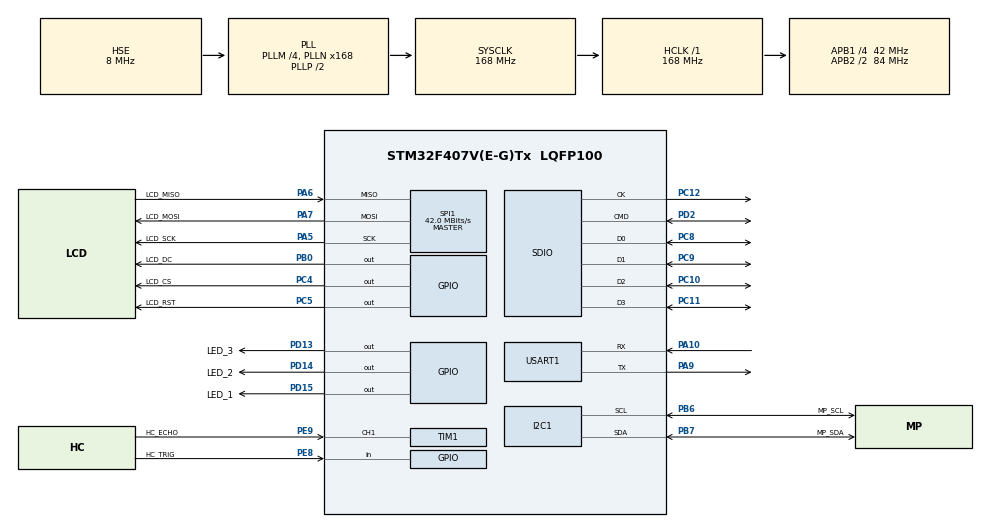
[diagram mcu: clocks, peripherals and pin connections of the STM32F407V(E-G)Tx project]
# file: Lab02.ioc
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Dma.Request0=SDIO_RX
Dma.Request1=SDIO_TX
Dma.SDIO_RX.0.Direction=DMA_PERIPH_TO_MEMORY
Dma.SDIO_RX.0.FIFOMode=DMA_FIFOMODE_ENABLE
Dma.SDIO_RX.0.FIFOThreshold=DMA_FIFO_THRESHOLD_FULL
Dma.SDIO_RX.0.Instance=DMA2_Stream3
Dma.SDIO_RX.0.MemBurst=DMA_MBURST_INC4
Dma.SDIO_RX.0.MemDataAlignment=DMA_MDATAALIGN_WORD
Dma.SDIO_RX.0.MemInc=DMA_MINC_ENABLE
Dma.SDIO_RX.0.Mode=DMA_PFCTRL
Dma.SDIO_RX.0.PeriphBurst=DMA_PBURST_INC4
Dma.SDIO_RX.0.PeriphDataAlignment=DMA_PDATAALIGN_WORD
Dma.SDIO_RX.0.PeriphInc=DMA_PINC_DISABLE
Dma.SDIO_RX.0.Priority=DMA_PRIORITY_LOW
Dma.SDIO_TX.1.Direction=DMA_MEMORY_TO_PERIPH
Dma.SDIO_TX.1.FIFOMode=DMA_FIFOMODE_ENABLE
Dma.SDIO_TX.1.FIFOThreshold=DMA_FIFO_THRESHOLD_FULL
Dma.SDIO_TX.1.Instance=DMA2_Stream6
Dma.SDIO_TX.1.MemBurst=DMA_MBURST_INC4
Dma.SDIO_TX.1.MemDataAlignment=DMA_MDATAALIGN_WORD
Dma.SDIO_TX.1.MemInc=DMA_MINC_ENABLE
Dma.SDIO_TX.1.Mode=DMA_PFCTRL
Dma.SDIO_TX.1.PeriphBurst=DMA_PBURST_INC4
Dma.SDIO_TX.1.PeriphDataAlignment=DMA_PDATAALIGN_WORD
Dma.SDIO_TX.1.PeriphInc=DMA_PINC_DISABLE
Dma.SDIO_TX.1.Priority=DMA_PRIORITY_LOW
FATFS._MAX_SS=512
FATFS._USE_LFN=3
FREERTOS.Tasks01=defaultTask,0,128,StartDefaultTask,Default,NULL,Dynamic,NULL,NULL
Mcu.Family=STM32F4
Mcu.Name=STM32F407V(E-G)Tx
Mcu.Package=LQFP100
NVIC.DMA2_Stream3_IRQn=true\:5\:0\:false\:false\:true\:true\:false\:true\:true
NVIC.DMA2_Stream6_IRQn=true\:5\:0\:false\:false\:true\:true\:false\:true\:true
NVIC.PriorityGroup=NVIC_PRIORITYGROUP_4
NVIC.TIM1_CC_IRQn=true\:5\:0\:false\:false\:true\:true\:true\:true\:true
PA10.Mode=Asynchronous
PA10.Signal=USART1_RX
PA5.GPIO_Label=LCD_SCK
PA5.Mode=Full_Duplex_Master
PA5.Signal=SPI1_SCK
PA6.GPIO_Label=LCD_MISO
PA6.Mode=Full_Duplex_Master
PA6.Signal=SPI1_MISO
PA7.GPIO_Label=LCD_MOSI
PA7.Mode=Full_Duplex_Master
PA7.Signal=SPI1_MOSI
PA9.Mode=Asynchronous
PA9.Signal=USART1_TX
PB0.GPIO_Label=LCD_DC
PB0.Signal=GPIO_Output
PB6.GPIO_Label=MP_SCL
PB6.GPIO_Pu=GPIO_PULLUP
PB6.Mode=I2C
PB6.Signal=I2C1_SCL
PB7.GPIO_Label=MP_SDA
PB7.GPIO_Pu=GPIO_PULLUP
PB7.Mode=I2C
PB7.Signal=I2C1_SDA
PC10.GPIO_PuPd=GPIO_PULLUP
PC10.Mode=SD_4_bits_Wide_bus
PC10.Signal=SDIO_D2
PC11.GPIO_PuPd=GPIO_PULLUP
PC11.Mode=SD_4_bits_Wide_bus
PC11.Signal=SDIO_D3
PC12.GPIO_PuPd=GPIO_PULLUP
PC12.Mode=SD_4_bits_Wide_bus
PC12.Signal=SDIO_CK
PC14-OSC32_IN.Mode=LSE-External-Oscillator
PC14-OSC32_IN.Signal=RCC_OSC32_IN
PC15-OSC32_OUT.Mode=LSE-External-Oscillator
PC15-OSC32_OUT.Signal=RCC_OSC32_OUT
PC4.GPIO_Label=LCD_CS
PC4.Signal=GPIO_Output
PC5.GPIO_Label=LCD_RST
PC5.Signal=GPIO_Output
PC8.GPIO_PuPd=GPIO_PULLUP
PC8.Mode=SD_4_bits_Wide_bus
PC8.Signal=SDIO_D0
PC9.GPIO_PuPd=GPIO_PULLUP
PC9.Mode=SD_4_bits_Wide_bus
PC9.Signal=SDIO_D1
PD13.GPIO_Label=LED_3
PD13.Signal=GPIO_Output
PD14.GPIO_Label=LED_2
PD14.Signal=GPIO_Output
PD15.GPIO_Label=LED_1
PD15.Signal=GPIO_Output
PD2.GPIO_PuPd=GPIO_PULLUP
PD2.Mode=SD_4_bits_Wide_bus
PD2.Signal=SDIO_CMD
PE8.GPIO_Label=HC_TRIG
PE8.Signal=GPIO_Input
PE9.GPIO_Label=HC_ECHO
PE9.Signal=S_TIM1_CH1
PH0-OSC_IN.Mode=HSE-External-Oscillator
PH0-OSC_IN.Signal=RCC_OSC_IN
PH1-OSC_OUT.Mode=HSE-External-Oscillator
PH1-OSC_OUT.Signal=RCC_OSC_OUT
ProjectManager.HeapSize=0x200
ProjectManager.StackSize=0x400
ProjectManager.TargetToolchain=STM32CubeIDE
RCC.48MHZClocksFreq_Value=48000000
RCC.AHBFreq_Value=168000000
RCC.APB1CLKDivider=RCC_HCLK_DIV4
RCC.APB1Freq_Value=42000000
RCC.APB1TimFreq_Value=84000000
RCC.APB2CLKDivider=RCC_HCLK_DIV2
RCC.APB2Freq_Value=84000000
RCC.APB2TimFreq_Value=168000000
RCC.CortexFreq_Value=168000000
RCC.HCLKFreq_Value=168000000
RCC.HSE_VALUE=8000000
RCC.HSI_VALUE=16000000
RCC.PLLM=4
RCC.PLLN=168
RCC.PLLQ=7
RCC.PLLSourceVirtual=RCC_PLLSOURCE_HSE
RCC.SYSCLKFreq_VALUE=168000000
RCC.SYSCLKSource=RCC_SYSCLKSOURCE_PLLCLK
RCC.VCOOutputFreq_Value=336000000
SDIO.ClockDiv=2
SDIO.HardwareFlowControl=SDIO_HARDWARE_FLOW_CONTROL_ENABLE
SH.S_TIM1_CH1.0=TIM1_CH1,Input_Capture1_from_TI1
SPI1.BaudRatePrescaler=SPI_BAUDRATEPRESCALER_2
SPI1.CLKPhase=SPI_PHASE_2EDGE
SPI1.CLKPolarity=SPI_POLARITY_HIGH
SPI1.CalculateBaudRate=42.0 MBits/s
SPI1.Direction=SPI_DIRECTION_2LINES
SPI1.Mode=SPI_MODE_MASTER
SPI1.VirtualType=VM_MASTER
TIM1.Channel-Input_Capture1_from_TI1=TIM_CHANNEL_1
USART1.VirtualMode=VM_ASYNC
VP_FATFS_VS_SDIO.Mode=SDIO
VP_FREERTOS_VS_CMSIS_V1.Mode=CMSIS_V1
VP_TIM1_VS_ClockSourceINT.Mode=Internal
board=custom

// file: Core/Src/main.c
/* USER CODE BEGIN Header */
/**
  ******************************************************************************
  * @file           : main.c
  * @brief          : Main program body
  ******************************************************************************
  * @attention
  *
  * Copyright (c) 2025 STMicroelectronics.
  * All rights reserved.
  *
  * This software is licensed under terms that can be found in the LICENSE file
  * in the root directory of this software component.
  * If no LICENSE file comes with this software, it is provided AS-IS.
  *
  ******************************************************************************
  */
/* USER CODE END Header */
#include "main.h"
#include "cmsis_os.h"
#include "fatfs.h"

/* USER CODE BEGIN Includes */
#include <string.h>
#include <stdio.h>
#include "mpu6050.h"
#include "SR04.h"
#include "st7789.h"
#include "font.h"
/* USER CODE END Includes */

I2C_HandleTypeDef hi2c1;

SD_HandleTypeDef hsd;
DMA_HandleTypeDef hdma_sdio_rx;
DMA_HandleTypeDef hdma_sdio_tx;

SPI_HandleTypeDef hspi1;

TIM_HandleTypeDef htim1;

UART_HandleTypeDef huart1;

/* USER CODE BEGIN PV */
osThreadId SDCardTaskHandle;
osThreadId SensorsTaskHandle;
osThreadId DisplayTaskHandle;
osThreadId EventDetectTaskHandle;

sr04_t sr04_sensor;

osMessageQId sensorDataQueueHandle;

char uart_buf_main[100]; // <-- ADICIONAR: Buffer para debug no main
int mpu_init_status = 99;  // <-- ADICIONAR: Status da inicialização do MPU
/* USER CODE END PV */

void SystemClock_Config(void);
static void MX_GPIO_Init(void);
static void MX_DMA_Init(void);
static void MX_I2C1_Init(void);
static void MX_SDIO_SD_Init(void);
static void MX_SPI1_Init(void);
static void MX_TIM1_Init(void);
static void MX_USART1_UART_Init(void);
void StartEventDetectTask(void const * argument);
void StartDisplayTask(void const * argument);
void StartSensorsTask(void const * argument);
void StartSDCardTask(void const * argument);

int main(void)
{

  /* MCU Configuration--------------------------------------------------------*/

  /* Reset of all peripherals, Initializes the Flash interface and the Systick. */
  HAL_Init();

  /* Configure the system clock */
  SystemClock_Config();

  /* Initialize all configured peripherals */
  MX_GPIO_Init();
  MX_DMA_Init();
  MX_I2C1_Init();
  MX_SDIO_SD_Init();
  MX_SPI1_Init();
  MX_TIM1_Init();
  MX_USART1_UART_Init();
  MX_FATFS_Init();
  /* USER CODE BEGIN 2 */

  ST7789_Init();
  ST7789_FillScreen(ST7789_BLACK);

  sr04_sensor.trig_port = HC_TRIG_GPIO_Port; // Ex: GPIOA
  sr04_sensor.trig_pin = HC_TRIG_Pin;       // Ex: GPIO_PIN_1
  sr04_sensor.echo_htim = &htim1;           // Handle do Timer
  sr04_sensor.echo_channel = TIM_CHANNEL_1; // Canal do Timer

  sr04_init(&sr04_sensor);    // Assumindo que o HC-SR04 usa o TIM1

  // --- TESTE DE DEBUG I2C (SCANNER) ---
  sprintf(uart_buf_main, "Iniciando...\r\nIniciando Scan I2C...\r\n");
  HAL_UART_Transmit(&huart1, (uint8_t*)uart_buf_main, strlen(uart_buf_main), HAL_MAX_DELAY);

  // 1. Testa o endereço 0x68 (AD0 = GND)
  HAL_StatusTypeDef status_68 = HAL_I2C_IsDeviceReady(&hi2c1, (0x68 << 1), 3, 100);

  sprintf(uart_buf_main, "Scan: Endereco 0x68... Status: %d\r\n", status_68);
  HAL_UART_Transmit(&huart1, (uint8_t*)uart_buf_main, strlen(uart_buf_main), HAL_MAX_DELAY);

  // 2. Testa o endereço 0x69 (AD0 = VCC/Flutuando)
  HAL_StatusTypeDef status_69 = HAL_I2C_IsDeviceReady(&hi2c1, (0x69 << 1), 3, 100);

  sprintf(uart_buf_main, "Scan: Endereco 0x69... Status: %d\r\n", status_69);
  HAL_UART_Transmit(&huart1, (uint8_t*)uart_buf_main, strlen(uart_buf_main), HAL_MAX_DELAY);

  // 3. Tenta inicializar o MPU6050 (que está configurado para 0x68)
  mpu_init_status = mpu6050_init();

  if (mpu_init_status != 0) {
      sprintf(uart_buf_main, "Falha no mpu6050_init! Codigo: %d\r\n", mpu_init_status);
      HAL_UART_Transmit(&huart1, (uint8_t*)uart_buf_main, strlen(uart_buf_main), HAL_MAX_DELAY);
  } else {
      sprintf(uart_buf_main, "MPU6050 Init OK! (WHO_AM_I OK no 0x68)\r\n");
      HAL_UART_Transmit(&huart1, (uint8_t*)uart_buf_main, strlen(uart_buf_main), HAL_MAX_DELAY);
  }
  // --- FIM DO TESTE DE DEBUG ---
  /* USER CODE END 2 */

  /* USER CODE BEGIN RTOS_QUEUES */
  osMessageQDef(sensorDataQueue, 1, sizeof(SensorData_t));
  sensorDataQueueHandle = osMessageCreate(osMessageQ(sensorDataQueue), NULL);
  /* USER CODE END RTOS_QUEUES */

  /* Create the thread(s) */
  /* definition and creation of defaultTask */
  osThreadDef(SDCardTask, StartSDCardTask, osPriorityAboveNormal, 0, 1024);
  SDCardTaskHandle = osThreadCreate(osThread(SDCardTask), NULL);

  /* USER CODE BEGIN RTOS_THREADS */
  osThreadDef(SensorsTask, StartSensorsTask, osPriorityNormal, 0, 512);
  SensorsTaskHandle = osThreadCreate(osThread(SensorsTask), NULL);

  osThreadDef(DisplayTask, StartDisplayTask, osPriorityNormal, 0, 512);
  DisplayTaskHandle = osThreadCreate(osThread(DisplayTask), NULL);

  osThreadDef(EventDetectTask, StartEventDetectTask, osPriorityAboveNormal, 0, 512);
  EventDetectTaskHandle = osThreadCreate(osThread(EventDetectTask), NULL);

  /* USER CODE END RTOS_THREADS */

  /* Start scheduler */
  osKernelStart();

  /* We should never get here as control is now taken by the scheduler */

  /* Infinite loop */
  while (1)
  {

  }
}

void SystemClock_Config(void)
{
  RCC_OscInitTypeDef RCC_OscInitStruct = {0};
  RCC_ClkInitTypeDef RCC_ClkInitStruct = {0};

  /** Configure the main internal regulator output voltage
  */
  __HAL_RCC_PWR_CLK_ENABLE();
  __HAL_PWR_VOLTAGESCALING_CONFIG(PWR_REGULATOR_VOLTAGE_SCALE1);

  /** Initializes the RCC Oscillators according to the specified parameters
  * in the RCC_OscInitTypeDef structure.
  */
  RCC_OscInitStruct.OscillatorType = RCC_OSCILLATORTYPE_HSE;
  RCC_OscInitStruct.HSEState = RCC_HSE_ON;
  RCC_OscInitStruct.PLL.PLLState = RCC_PLL_ON;
  RCC_OscInitStruct.PLL.PLLSource = RCC_PLLSOURCE_HSE;
  RCC_OscInitStruct.PLL.PLLM = 4;
  RCC_OscInitStruct.PLL.PLLN = 168;
  RCC_OscInitStruct.PLL.PLLP = RCC_PLLP_DIV2;
  RCC_OscInitStruct.PLL.PLLQ = 7;
  if (HAL_RCC_OscConfig(&RCC_OscInitStruct) != HAL_OK)
  {
    Error_Handler();
  }

  /** Initializes the CPU, AHB and APB buses clocks
  */
  RCC_ClkInitStruct.ClockType = RCC_CLOCKTYPE_HCLK|RCC_CLOCKTYPE_SYSCLK
                              |RCC_CLOCKTYPE_PCLK1|RCC_CLOCKTYPE_PCLK2;
  RCC_ClkInitStruct.SYSCLKSource = RCC_SYSCLKSOURCE_PLLCLK;
  RCC_ClkInitStruct.AHBCLKDivider = RCC_SYSCLK_DIV1;
  RCC_ClkInitStruct.APB1CLKDivider = RCC_HCLK_DIV4;
  RCC_ClkInitStruct.APB2CLKDivider = RCC_HCLK_DIV2;

  if (HAL_RCC_ClockConfig(&RCC_ClkInitStruct, FLASH_LATENCY_5) != HAL_OK)
  {
    Error_Handler();
  }
}

static void MX_I2C1_Init(void)
{

  hi2c1.Instance = I2C1;
  hi2c1.Init.ClockSpeed = 100000;
  hi2c1.Init.DutyCycle = I2C_DUTYCYCLE_2;
  hi2c1.Init.OwnAddress1 = 0;
  hi2c1.Init.AddressingMode = I2C_ADDRESSINGMODE_7BIT;
  hi2c1.Init.DualAddressMode = I2C_DUALADDRESS_DISABLE;
  hi2c1.Init.OwnAddress2 = 0;
  hi2c1.Init.GeneralCallMode = I2C_GENERALCALL_DISABLE;
  hi2c1.Init.NoStretchMode = I2C_NOSTRETCH_DISABLE;
  if (HAL_I2C_Init(&hi2c1) != HAL_OK)
  {
    Error_Handler();
  }

}

static void MX_SDIO_SD_Init(void)
{

  hsd.Instance = SDIO;
  hsd.Init.ClockEdge = SDIO_CLOCK_EDGE_RISING;
  hsd.Init.ClockBypass = SDIO_CLOCK_BYPASS_DISABLE;
  hsd.Init.ClockPowerSave = SDIO_CLOCK_POWER_SAVE_DISABLE;
  hsd.Init.BusWide = SDIO_BUS_WIDE_1B;
  hsd.Init.HardwareFlowControl = SDIO_HARDWARE_FLOW_CONTROL_ENABLE;
  hsd.Init.ClockDiv = 2;

}

static void MX_SPI1_Init(void)
{

  /* SPI1 parameter configuration*/
  hspi1.Instance = SPI1;
  hspi1.Init.Mode = SPI_MODE_MASTER;
  hspi1.Init.Direction = SPI_DIRECTION_2LINES;
  hspi1.Init.DataSize = SPI_DATASIZE_8BIT;
  hspi1.Init.CLKPolarity = SPI_POLARITY_HIGH;
  hspi1.Init.CLKPhase = SPI_PHASE_2EDGE;
  hspi1.Init.NSS = SPI_NSS_SOFT;
  hspi1.Init.BaudRatePrescaler = SPI_BAUDRATEPRESCALER_2;
  hspi1.Init.FirstBit = SPI_FIRSTBIT_MSB;
  hspi1.Init.TIMode = SPI_TIMODE_DISABLE;
  hspi1.Init.CRCCalculation = SPI_CRCCALCULATION_DISABLE;
  hspi1.Init.CRCPolynomial = 10;
  if (HAL_SPI_Init(&hspi1) != HAL_OK)
  {
    Error_Handler();
  }

}

static void MX_TIM1_Init(void)
{

  TIM_ClockConfigTypeDef sClockSourceConfig = {0};
  TIM_MasterConfigTypeDef sMasterConfig = {0};
  TIM_IC_InitTypeDef sConfigIC = {0};

  htim1.Instance = TIM1;
  htim1.Init.Prescaler = 0;
  htim1.Init.CounterMode = TIM_COUNTERMODE_UP;
  htim1.Init.Period = 65535;
  htim1.Init.ClockDivision = TIM_CLOCKDIVISION_DIV1;
  htim1.Init.RepetitionCounter = 0;
  htim1.Init.AutoReloadPreload = TIM_AUTORELOAD_PRELOAD_DISABLE;
  if (HAL_TIM_Base_Init(&htim1) != HAL_OK)
  {
    Error_Handler();
  }
  sClockSourceConfig.ClockSource = TIM_CLOCKSOURCE_INTERNAL;
  if (HAL_TIM_ConfigClockSource(&htim1, &sClockSourceConfig) != HAL_OK)
  {
    Error_Handler();
  }
  if (HAL_TIM_IC_Init(&htim1) != HAL_OK)
  {
    Error_Handler();
  }
  sMasterConfig.MasterOutputTrigger = TIM_TRGO_RESET;
  sMasterConfig.MasterSlaveMode = TIM_MASTERSLAVEMODE_DISABLE;
  if (HAL_TIMEx_MasterConfigSynchronization(&htim1, &sMasterConfig) != HAL_OK)
  {
    Error_Handler();
  }
  sConfigIC.ICPolarity = TIM_INPUTCHANNELPOLARITY_RISING;
  sConfigIC.ICSelection = TIM_ICSELECTION_DIRECTTI;
  sConfigIC.ICPrescaler = TIM_ICPSC_DIV1;
  sConfigIC.ICFilter = 0;
  if (HAL_TIM_IC_ConfigChannel(&htim1, &sConfigIC, TIM_CHANNEL_1) != HAL_OK)
  {
    Error_Handler();
  }

}

static void MX_USART1_UART_Init(void)
{

  huart1.Instance = USART1;
  huart1.Init.BaudRate = 115200;
  huart1.Init.WordLength = UART_WORDLENGTH_8B;
  huart1.Init.StopBits = UART_STOPBITS_1;
  huart1.Init.Parity = UART_PARITY_NONE;
  huart1.Init.Mode = UART_MODE_TX_RX;
  huart1.Init.HwFlowCtl = UART_HWCONTROL_NONE;
  huart1.Init.OverSampling = UART_OVERSAMPLING_16;
  if (HAL_UART_Init(&huart1) != HAL_OK)
  {
    Error_Handler();
  }

}

static void MX_DMA_Init(void)
{

  /* DMA controller clock enable */
  __HAL_RCC_DMA2_CLK_ENABLE();

  /* DMA interrupt init */
  /* DMA2_Stream3_IRQn interrupt configuration */
  HAL_NVIC_SetPriority(DMA2_Stream3_IRQn, 5, 0);
  HAL_NVIC_EnableIRQ(DMA2_Stream3_IRQn);
  /* DMA2_Stream6_IRQn interrupt configuration */
  HAL_NVIC_SetPriority(DMA2_Stream6_IRQn, 5, 0);
  HAL_NVIC_EnableIRQ(DMA2_Stream6_IRQn);

}

static void MX_GPIO_Init(void)
{
  GPIO_InitTypeDef GPIO_InitStruct = {0};

  /* GPIO Ports Clock Enable */
  __HAL_RCC_GPIOC_CLK_ENABLE();
  __HAL_RCC_GPIOH_CLK_ENABLE();
  __HAL_RCC_GPIOA_CLK_ENABLE();
  __HAL_RCC_GPIOB_CLK_ENABLE();
  __HAL_RCC_GPIOE_CLK_ENABLE();
  __HAL_RCC_GPIOD_CLK_ENABLE();

  /*Configure GPIO pin Output Level */
  HAL_GPIO_WritePin(GPIOC, LCD_CS_Pin|LCD_RST_Pin, GPIO_PIN_RESET);

  /*Configure GPIO pin Output Level */
  HAL_GPIO_WritePin(LCD_DC_GPIO_Port, LCD_DC_Pin, GPIO_PIN_RESET);

  /*Configure GPIO pin Output Level */
  HAL_GPIO_WritePin(GPIOD, LED_3_Pin|LED_2_Pin|LED_1_Pin, GPIO_PIN_RESET);

  /*Configure GPIO pins : LCD_CS_Pin LCD_RST_Pin */
  GPIO_InitStruct.Pin = LCD_CS_Pin|LCD_RST_Pin;
  GPIO_InitStruct.Mode = GPIO_MODE_OUTPUT_PP;
  GPIO_InitStruct.Pull = GPIO_NOPULL;
  GPIO_InitStruct.Speed = GPIO_SPEED_FREQ_LOW;
  HAL_GPIO_Init(GPIOC, &GPIO_InitStruct);

  /*Configure GPIO pin : LCD_DC_Pin */
  GPIO_InitStruct.Pin = LCD_DC_Pin;
  GPIO_InitStruct.Mode = GPIO_MODE_OUTPUT_PP;
  GPIO_InitStruct.Pull = GPIO_NOPULL;
  GPIO_InitStruct.Speed = GPIO_SPEED_FREQ_LOW;
  HAL_GPIO_Init(LCD_DC_GPIO_Port, &GPIO_InitStruct);

  /*Configure GPIO pin : HC_TRIG_Pin */
  GPIO_InitStruct.Pin = HC_TRIG_Pin;
  GPIO_InitStruct.Mode = GPIO_MODE_INPUT;
  GPIO_InitStruct.Pull = GPIO_NOPULL;
  HAL_GPIO_Init(HC_TRIG_GPIO_Port, &GPIO_InitStruct);

  /*Configure GPIO pins : LED_3_Pin LED_2_Pin LED_1_Pin */
  GPIO_InitStruct.Pin = LED_3_Pin|LED_2_Pin|LED_1_Pin;
  GPIO_InitStruct.Mode = GPIO_MODE_OUTPUT_PP;
  GPIO_InitStruct.Pull = GPIO_NOPULL;
  GPIO_InitStruct.Speed = GPIO_SPEED_FREQ_LOW;
  HAL_GPIO_Init(GPIOD, &GPIO_InitStruct);

}

/* USER CODE BEGIN 4 */
void HAL_TIM_IC_CaptureCallback(TIM_HandleTypeDef *htim)
{
  // Verifica se a interrupção veio do timer correto (o que está ligado ao HC-SR04)
  if (htim->Instance == sr04_sensor.echo_htim->Instance)
  {
    // Chama a função que trata a lógica de captura e cálculo da distância
    sr04_read_distance(&sr04_sensor);
  }
}

void StartEventDetectTask(void const * argument)
{
  /* USER CODE BEGIN StartEventDetectTask */
  SensorData_t received_data;
  osEvent event;
  char uart_buf[256];

  /* Infinite loop */
  for(;;)
  {
    // --- RECEBE DADOS DA FILA ---
    event = osMessageGet(sensorDataQueueHandle, osWaitForever);

    if (event.status == osEventMessage)
    {
      received_data = *(SensorData_t*)event.value.p;

      // --- Transmissão UART ÚNICA com todos os dados ---
      sprintf(uart_buf,
             "AX:%.2f|AY:%.2f|AZ:%.2f|GX:%.2f|GY:%.2f|GZ:%.2f|Dist:%lu\r\n",
             received_data.accel_x, received_data.accel_y, received_data.accel_z,
             received_data.gyro_x, received_data.gyro_y, received_data.gyro_z,
             received_data.distance_mm);

      HAL_UART_Transmit(&huart1, (uint8_t*)uart_buf, strlen(uart_buf), HAL_MAX_DELAY);
    }
  }
  /* USER CODE END StartEventDetectTask */
}

void StartDisplayTask(void const * argument)
{
  /* USER CODE BEGIN StartDisplayTask */
  SensorData_t display_data;
  osEvent event;
  char display_buf[64]; // Buffer para formatar as strings

  /* Infinite loop */
  for(;;)
  {
    // Espera por novos dados dos sensores (bloqueia aqui)
    event = osMessageGet(sensorDataQueueHandle, osWaitForever);

    if (event.status == osEventMessage)
    {
      display_data = *(SensorData_t*)event.value.p;

      sprintf(display_buf, "AX: %.2f g ", display_data.accel_x);
      ST7789_DrawText(10, 10, display_buf, ST7789_WHITE, ST7789_BLACK, ST7789_SIZE);

      sprintf(display_buf, "AY: %.2f g ", display_data.accel_y);
      ST7789_DrawText(10, 30, display_buf, ST7789_WHITE, ST7789_BLACK, ST7789_SIZE);

      sprintf(display_buf, "AZ: %.2f g ", display_data.accel_z);
      ST7789_DrawText(10, 50, display_buf, ST7789_WHITE, ST7789_BLACK, ST7789_SIZE);

      sprintf(display_buf, "GX: %.1f dps ", display_data.gyro_x);
      ST7789_DrawText(10, 80, display_buf, ST7789_WHITE, ST7789_BLACK, ST7789_SIZE);

      sprintf(display_buf, "GY: %.1f dps ", display_data.gyro_y);
      ST7789_DrawText(10, 100, display_buf, ST7789_WHITE, ST7789_BLACK, ST7789_SIZE);

      sprintf(display_buf, "GZ: %.1f dps ", display_data.gyro_z);
      ST7789_DrawText(10, 120, display_buf,  ST7789_WHITE, ST7789_BLACK, ST7789_SIZE);

      sprintf(display_buf, "Dist: %lu mm ", display_data.distance_mm);
      ST7789_DrawText(10, 150, display_buf, ST7789_WHITE, ST7789_BLACK, ST7789_SIZE);
    }
  }
  /* USER CODE END StartDisplayTask */
}

void StartSensorsTask(void const * argument)
{
  mpu6050_raw_t mpu_raw_data;
  SensorData_t current_sensor_data; // Struct local para os dados
  char uart_buf_task[100]; // Buffer local

  // Se a init falhou, esta task não deve rodar
  if (mpu_init_status != 0)
  {
    sprintf(uart_buf_task, "Task de Sensor parada (Init falhou).\r\n");
    HAL_UART_Transmit(&huart1, (uint8_t*)uart_buf_task, strlen(uart_buf_task), HAL_MAX_DELAY);
    while(1)
    {
      // Pisca o LED 3 (PD13) para indicar erro grave
      HAL_GPIO_TogglePin(LED_3_GPIO_Port, LED_3_Pin);
      osDelay(200);
    }
  }

  /* Infinite loop */
  for(;;)
  {
    // --- PASSO 1: LER O MPU ---
    if (mpu6050_read_all(&mpu_raw_data) != 0)
    {
       // Erro na leitura I2C (ex: cabo desconectado)
       memset(&mpu_raw_data, 0, sizeof(mpu6050_raw_t));
       HAL_GPIO_WritePin(LED_3_GPIO_Port, LED_3_Pin, GPIO_PIN_SET); // Acende LED 3 (Erro)
    }
    else
    {
       HAL_GPIO_WritePin(LED_3_GPIO_Port, LED_3_Pin, GPIO_PIN_RESET); // Apaga LED 3 (OK)
    }

    // --- PASSO 2: LER O HC-SR04 ---
    sr04_trigger(&sr04_sensor);
    // A ISR (HAL_TIM_IC_CaptureCallback) vai atualizar o valor

    // --- PASSO 3: PREENCHER STRUCT ---
    current_sensor_data.accel_x = mpu6050_accel_g(mpu_raw_data.ax);
    current_sensor_data.accel_y = mpu6050_accel_g(mpu_raw_data.ay);
    current_sensor_data.accel_z = mpu6050_accel_g(mpu_raw_data.az);
    current_sensor_data.gyro_x = mpu6050_gyro_dps(mpu_raw_data.gx);
    current_sensor_data.gyro_y = mpu6050_gyro_dps(mpu_raw_data.gy);
    current_sensor_data.gyro_z = mpu6050_gyro_dps(mpu_raw_data.gz);

    // Precisamos de um pequeno delay para a ISR do timer rodar
    osDelay(50); // Delay para a medição do HC-SR04 ser capturada
    current_sensor_data.distance_mm = sr04_sensor.distance;

    // --- PASSO 4: ENVIAR PARA FILA ---
    // A StartEventDetectTask vai consumir e imprimir
    osMessagePut(sensorDataQueueHandle, (uint32_t)&current_sensor_data, 0);

    // Delay total da task. (50ms + 150ms = 200ms)
    osDelay(150);
  }
}

void StartSDCardTask(void const * argument)
{
  /* USER CODE BEGIN 5 */
  /* Infinite loop */
  for(;;)
  {
    FATFS myFATFS;
    FIL myFILE;
    FRESULT res;
    UINT bytesWritten;
    // A variável SDPath é o caminho correto para o drive (geralmente "0:")
    extern char SDPath[4];

    char writeBuffer[] = "Sucesso! O cartao SD esta funcionando com FATFS!";

    // Um pequeno delay para garantir que tudo estabilizou
    osDelay(1000);

    // 1. Monta o sistema de arquivos
    res = f_mount(&myFATFS, (TCHAR const*)SDPath, 1);
    if (res != FR_OK)
    {
      // Falha ao montar - Pisca LED de erro (PD15)
      while(1)
      {
        HAL_GPIO_TogglePin(LED_1_GPIO_Port, LED_1_Pin);
        osDelay(200);
      }
    }

    // 2. Abre (ou cria) um arquivo para escrita
    res = f_open(&myFILE, "log.txt", FA_CREATE_ALWAYS | FA_WRITE);
    if (res != FR_OK)
    {
      // Falha ao abrir o arquivo - Pisca LED de erro (PD15)
      while(1)
      {
        HAL_GPIO_TogglePin(LED_1_GPIO_Port, LED_1_Pin);
        osDelay(400);
      }
    }

    // 3. Escreve no arquivo
    f_write(&myFILE, writeBuffer, strlen(writeBuffer), &bytesWritten);

    // 4. Fecha o arquivo (MUITO IMPORTANTE!)
    f_close(&myFILE);

    // 5. Desmonta o sistema de arquivos (boa prática)
    f_mount(NULL, (TCHAR const*)SDPath, 1);

    // Se tudo deu certo, acende o LED de sucesso (PD14) permanentemente
    HAL_GPIO_WritePin(LED_2_GPIO_Port, LED_2_Pin, GPIO_PIN_SET);

    // Suspende a tarefa, pois o teste foi concluído com sucesso
    osThreadSuspend(NULL);
  }
  /* USER CODE END 5 */
}

/* USER CODE END 4 */
void Error_Handler(void)
{
  __disable_irq();
  while (1)
  {
  }
}
